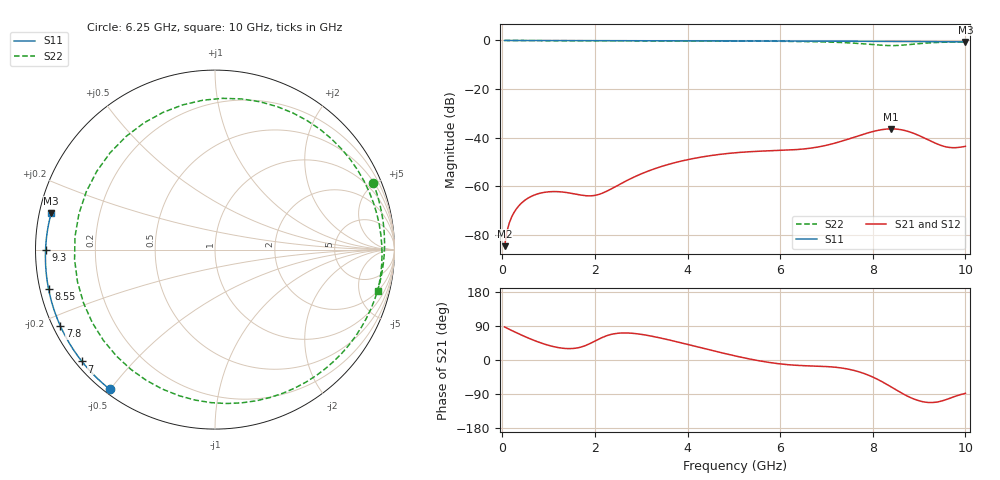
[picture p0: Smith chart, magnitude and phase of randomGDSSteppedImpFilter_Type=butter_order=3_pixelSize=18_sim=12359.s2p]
! freq	dB(S11)	phase(S11)	dB(S12)	phase(S12)
!  dB(S21)	phase(S21)	dB(S22)	phase(S22)
!S-par simulation data
#  GHz  S  DB  R 50
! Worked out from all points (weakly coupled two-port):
!   200 points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, 50 MHz to 10 GHz, reference 50 ohm
!   highest |S21| = -36.33 dB at 8.4 GHz (marker M1); lowest = -84.6 dB at 50 MHz (marker M2)
!   lowest |S11| = -0.6 dB at 10 GHz (marker M3), VSWR 29.81, Z = 1.7 + j5.5 ohm
!   |S11| at or under -10 dB: nowhere
!   |S22| runs from -2.1 to 0.0 dB; largest |S21 - S12| = 0
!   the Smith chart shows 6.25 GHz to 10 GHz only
!   S11 on the Smith chart (normalised r, x): 6.25 GHz: 0.02, -0.50; 7 GHz: 0.02, -0.36; 7.8 GHz: 0.02, -0.23; 8.55 GHz: 0.02, -0.12; 9.3 GHz: 0.03, -0.00; 10 GHz: 0.03, +0.11
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0.05  -0.00 -1.2  -84.56 87.1  -84.56 87.1  -0.00 -4.9
0.35  -0.01 -8.0  -68.13 69.4  -68.13 69.4  -0.05 -33.7
0.85  -0.02 -19.4  -62.64 44.4  -62.64 44.4  -0.09 -77.2
1.25  -0.04 -28.3  -62.21 31.9  -62.21 31.9  -0.11 -106.5
1.75  -0.05 -39.4  -63.70 36.1  -63.70 36.1  -0.12 -137.1
2.5  -0.07 -55.5  -59.50 70.7  -59.50 70.7  -0.14 -174.6
3.4  -0.10 -74.0  -52.03 58.5  -52.03 58.5  -0.16 147.1
4.25  -0.13 -90.6  -48.09 33.6  -48.09 33.6  -0.19 112.7
5.05  -0.16 -105.5  -46.14 10.2  -46.14 10.2  -0.24 79.3
6.25  -0.23 -126.9  -44.98 -13.2  -44.98 -13.2  -0.39 23.0
6.7  -0.26 -134.8  -44.16 -15.8  -44.16 -15.8  -0.51 -2.0
7  -0.28 -139.9  -43.08 -17.3  -43.08 -17.3  -0.64 -21.0
7.4  -0.31 -146.8  -40.98 -22.5  -40.98 -22.5  -0.91 -51.2
7.8  -0.35 -153.7  -38.54 -35.1  -38.54 -35.1  -1.38 -91.4
8.05  -0.37 -158.0  -37.22 -47.8  -37.22 -47.8  -1.77 -125.1
8.35  -0.40 -163.2  -36.36 -67.7  -36.36 -67.7  -2.11 -176.0
8.4  -0.40 -164.0  -36.33 -71.3  -36.33 -71.3  -2.12 174.7
8.55  -0.42 -166.6  -36.51 -82.1  -36.51 -82.1  -2.05 146.4
8.9  -0.46 -172.7  -38.30 -103.5  -38.30 -103.5  -1.48 87.1
9.3  -0.50 -179.8  -41.79 -112.1  -41.79 -112.1  -0.91 38.5
9.6  -0.53 174.8  -43.81 -103.9  -43.81 -103.9  -0.69 12.4
10  -0.58 167.4  -43.52 -88.1  -43.52 -88.1  -0.58 -14.3
